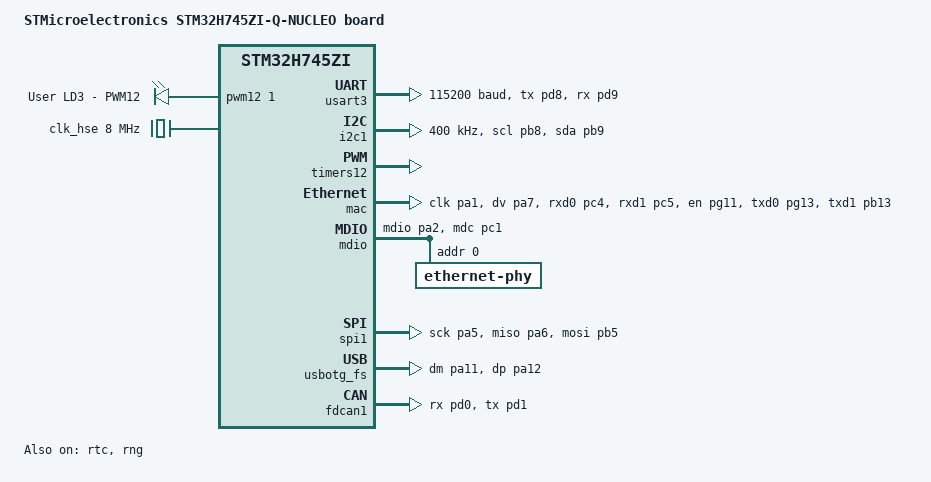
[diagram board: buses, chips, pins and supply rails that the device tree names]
/*
 * Copyright (c) 2020 Alexander Kozhinov <ak.alexander.kozhinov@gmail.com>
 *
 * SPDX-License-Identifier: Apache-2.0
 */

/dts-v1/;
#include <st/h7/stm32h745Xi_m7.dtsi>
#include "nucleo_h745zi_q.dtsi"

/*
 * WARNING:
 * Possible pin conflicts: The pins PA2 and PB13 may conflict on selection of
 * ETH_STM32_HAL, since they are used in ST Zio or ST morpho connectors. To
 * avoid conflicting states the jumpers JP6 and JP7 must be in ON state.
 */

/ {
	model = "STMicroelectronics STM32H745ZI-Q-NUCLEO board";
	compatible = "st,stm32h745zi-q-nucleo";

	/* HW resources belonging to CM7 */
	chosen {
		zephyr,console = &usart3;
		zephyr,shell-uart = &usart3;
		zephyr,dtcm = &dtcm;
		zephyr,sram = &sram0;
		zephyr,flash = &flash0;
		zephyr,canbus = &fdcan1;
	};

	pwmleds {
		compatible = "pwm-leds";

		red_pwm_led: red_pwm_led {
			pwms = <&pwm12 1 PWM_MSEC(20) PWM_POLARITY_NORMAL>;
			label = "User LD3 - PWM12";
		};
	};

	aliases {
		led0 = &green_led;
		pwm-led0 = &red_pwm_led;
		sw0 = &user_button;
	};
};

&clk_lsi {
	status = "okay";
};

&clk_hsi48 {
	status = "okay";
};

&clk_hse {
	hse-bypass;
	clock-frequency = <DT_FREQ_M(8)>; /* STLink 8MHz clock */
	status = "okay";
};

&pll {
	div-m = <1>;
	mul-n = <120>;
	div-p = <2>;
	div-q = <8>;
	div-r = <2>;
	clocks = <&clk_hse>;
	status = "okay";
};

&rcc {
	clocks = <&pll>;
	clock-frequency = <DT_FREQ_M(480)>;
};

&usart3 {
	pinctrl-0 = <&usart3_tx_pd8 &usart3_rx_pd9>;
	pinctrl-names = "default";
	current-speed = <115200>;
	status = "okay";
};

&rtc {
	clocks = <&rcc STM32_CLOCK_BUS_APB4 0x00010000>,
		 <&rcc STM32_SRC_LSI RTC_SEL(2)>;
	status = "okay";
};

&i2c1 {
	pinctrl-0 = <&i2c1_scl_pb8 &i2c1_sda_pb9>;
	pinctrl-names = "default";
	status = "okay";
	clock-frequency = <I2C_BITRATE_FAST>;
};

&timers12 {
	st,prescaler = <10000>;
	status = "okay";

	pwm12: pwm {
		status = "okay";
		pinctrl-0 = <&tim12_ch1_pb14>;
		pinctrl-names = "default";
	};
};

&mac {
	status = "okay";
	pinctrl-0 = <&eth_ref_clk_pa1
		     &eth_crs_dv_pa7
		     &eth_rxd0_pc4
		     &eth_rxd1_pc5
		     &eth_tx_en_pg11
		     &eth_txd0_pg13
		     &eth_txd1_pb13>;
	pinctrl-names = "default";
};

&mdio {
	status = "okay";
	pinctrl-0 = <&eth_mdio_pa2 &eth_mdc_pc1>;
	pinctrl-names = "default";

	ethernet-phy@0 {
		compatible = "ethernet-phy";
		reg = <0x00>;
		status = "okay";
	};
};

&rng {
	status = "okay";
};

&spi1 {
	pinctrl-0 = <&spi1_sck_pa5 &spi1_miso_pa6 &spi1_mosi_pb5>;
	pinctrl-names = "default";
	cs-gpios = <&gpiod 14 (GPIO_ACTIVE_LOW | GPIO_PULL_UP)>;
	status = "okay";
};

zephyr_udc0: &usbotg_fs {
	pinctrl-0 = <&usb_otg_fs_dm_pa11 &usb_otg_fs_dp_pa12>;
	pinctrl-names = "default";
	status = "okay";
};

&fdcan1 {
	pinctrl-0 = <&fdcan1_rx_pd0 &fdcan1_tx_pd1>;
	/* HSE will be used by default. Uncomment below to enable APB1.2 120MHz clock */
	/*
	 * clocks = <&rcc STM32_CLOCK_BUS_APB1_2 0x00000100>,
	 *	   <&rcc STM32_SRC_PLL1_Q FDCAN_SEL(1)>;
	 */
	pinctrl-names = "default";
	status = "okay";
};
